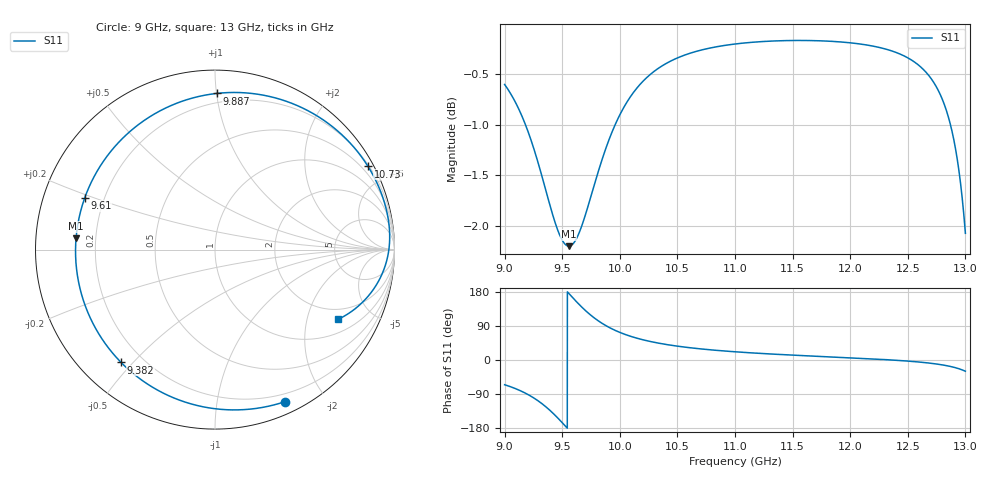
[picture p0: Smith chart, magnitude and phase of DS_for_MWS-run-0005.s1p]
! TOUCHSTONE file generated by CST DESIGN STUDIO
! Date and time: Tue Feb  4 16:08:41 2025
! Project name: C:\Work\MatlabApps\UnitCellOptimizationMatlab\CST\unitcell.cst
! Tree item: Tasks\Sweep1\SPara1\S-Parameters
! Header version: 2024
! Port assignment regex: !\s*Touchstone port\s*([0-9]+)\s*=\s*(CST MWS port|CST DES external port|CST DES block port)\s*(.+)\s* \(\"(.*)\"\)(\s*mode\s*([0-9]+))?.*
! Touchstone port assignment:
! Touchstone port 1 = CST DES external port 1 ("")
# GHz S MA R 50
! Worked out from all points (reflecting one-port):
!   4001 points, 9 GHz to 13 GHz, reference 50 ohm
!   lowest |S11| = -2.2 dB at 9.558 GHz (marker M1), VSWR 7.96, Z = 6.29 + j1.96 ohm
!   phase of S11 starts at -65 deg and turns -324 deg over the sweep
!   S11 on the Smith chart (normalised r, x): 9 GHz: 0.12, -1.56; 9.382 GHz: 0.12, -0.46; 9.61 GHz: 0.13, +0.19; 9.887 GHz: 0.14, +1.00; 10.73 GHz: 0.25, +3.92; 13 GHz: 1.51, -3.11
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9  0.9326 -65.2
9.042  0.925 -69.5
9.109  0.9105 -77.4
9.226  0.8769 -95.1
9.308  0.847 -111.5
9.382  0.8179 -129.8
9.446  0.7953 -148.2
9.5  0.782 -165.3
9.558  0.7767 175.4
9.61  0.7809 158.3
9.678  0.7972 137.3
9.743  0.8194 119.6
9.811  0.8444 103.8
9.887  0.8702 89.4
10  0.9011 72.9
10.103  0.9217 61.6
10.217  0.938 52.1
10.347  0.9509 43.9
10.5  0.9611 36.5
10.728  0.9704 28.5
11  0.9764 21.7
11.5  0.9802 12.9
12  0.9777 5.7
12.5  0.9612 -2.9
12.686  0.9416 -8.1
12.818  0.9115 -13.9
12.914  0.8674 -20.4
13  0.7881 -29.6
